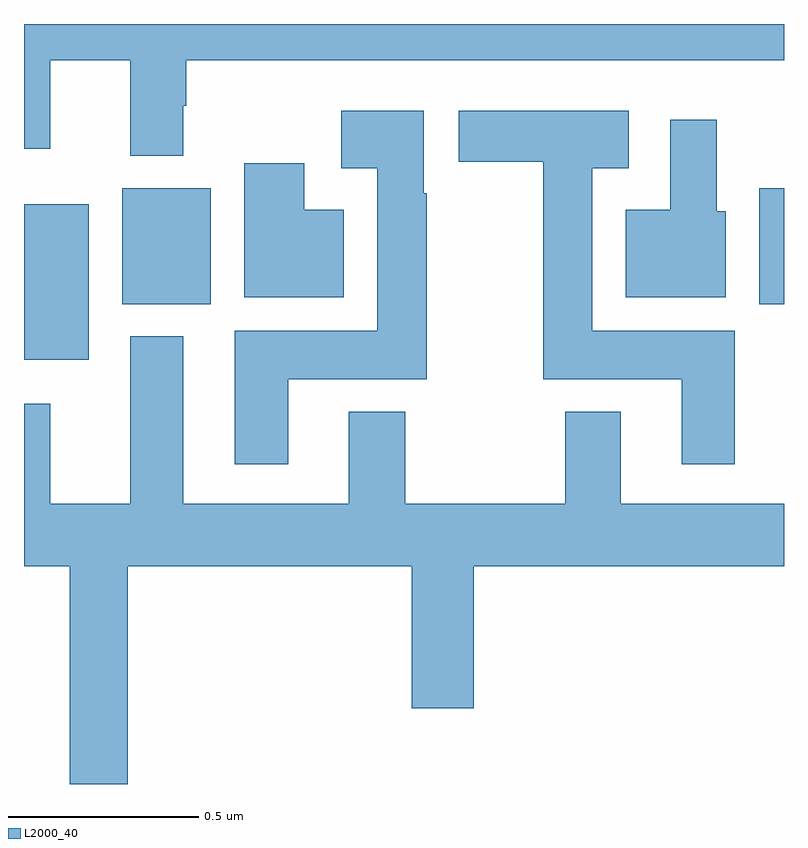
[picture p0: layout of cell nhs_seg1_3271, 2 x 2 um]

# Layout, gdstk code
import gdstk
lib = gdstk.Library(unit=1e-6, precision=1e-09)
def R(c, l, rs):  # rectangles x0, y0, x1, y1
    for r in rs: c.add(gdstk.rectangle(r[:2], r[2:], *l))
def P(c, l, *ps):  # polygons
    for p in ps: c.add(gdstk.Polygon(p, *l))
L2000_40 = (2000, 40)

nhs_seg1_3271 = lib.new_cell('nhs_seg1_3271')
R(nhs_seg1_3271, L2000_40, [(152,512.315,152.17,512.725), (152.258,512.462,152.491,512.767), (153.935,512.462,154,512.767)])
P(nhs_seg1_3271, L2000_40, [(152.419,512.984),(152.427,512.984),(152.427,513.104),(154,513.104),(154,513.199),(152,513.199),(152,512.871),(152.069,512.871),(152.069,513.104),(152.279,513.104),(152.279,512.852),(152.419,512.852)],
  [(152.695,512.264),(153.06,512.264),(153.06,512.753),(153.052,512.753),(153.052,512.971),(152.835,512.971),(152.835,512.819),(152.93,512.819),(152.93,512.392),(152.555,512.392),(152.555,512.04),(152.695,512.04)],
  [(153.871,512.392),(153.496,512.392),(153.496,512.819),(153.592,512.819),(153.592,512.971),(153.144,512.971),(153.144,512.837),(153.367,512.837),(153.367,512.264),(153.731,512.264),(153.731,512.04),(153.871,512.04)],
  [(153.847,512.706),(153.823,512.706),(153.823,512.947),(153.701,512.947),(153.701,512.71),(153.584,512.71),(153.584,512.48),(153.847,512.48)],
  [(152.842,512.71),(152.737,512.71),(152.737,512.833),(152.579,512.833),(152.579,512.48),(152.842,512.48)],
  [(152.273,511.772),(153.02,511.772),(153.02,511.398),(153.184,511.398),(153.184,511.772),(154,511.772),(154,511.936),(153.571,511.936),(153.571,512.179),(153.424,512.179),(153.424,511.936),(153.003,511.936),(153.003,512.179),(152.855,512.179),(152.855,511.936),(152.419,511.936),(152.419,512.377),(152.279,512.377),(152.279,511.936),(152.069,511.936),(152.069,512.2),(152,512.2),(152,511.772),(152.12,511.772),(152.12,511.199),(152.273,511.199)])

lib.write_gds('nhs_seg1_3271.gds')
